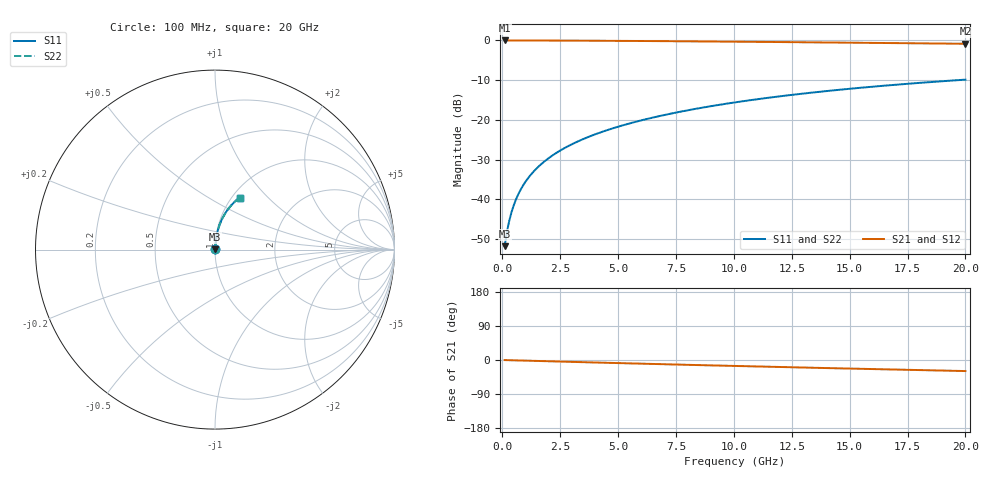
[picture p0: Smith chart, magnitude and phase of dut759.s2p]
! Touchstone file exported from HFSS 2024.1.0
!  File:  C:/UserFiles/LocalFiles/RDL_TSV_Batchsim/temp_RDL_bottom_759_1779860096.aedt
!  Generated:  01:37:42 PM May 27, 2026
!  Design:  RDL_bottom
!  Project:  temp_RDL_bottom_759_1779860096
!  Setup:  Setup1
!  Solution:  Sweep
! Variables:
!  dtsv = 10.80580581um
!  hbump = 3um
!  htsv = 90.23um
!  ldown = 380.72um
!  lrdl = 100um
!  p = 40
!  p1 = 47.54um
!  rhole = 1um
!  t = 450um
!  tdown = 4.75um
!  trdl = 3.915915916um
!  wdown = 15.72um
!  wrdl = 20um
# GHz S MA R 50.000000
! Terminal data exported
! Port[1] = RDL1_T1
! Port[2] = RDL1_T2
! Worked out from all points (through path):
!   200 points, 100 MHz to 20 GHz, reference 50 ohm
!   highest |S21| = -0.02 dB at 100 MHz (marker M1); lowest = -0.9 dB at 20 GHz (marker M2)
!   group delay of S21, straight-line fit = 4.03 ps
!   lowest |S11| = -51.8 dB at 100 MHz (marker M3), VSWR 1.01, Z = 50.2 + j0.173 ohm
!   |S11| at or under -10 dB: start of sweep to 19.67 GHz
!   |S22| runs from -51.8 to -9.9 dB; largest |S21 - S12| = 3.4e-15
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0.1  0.002585 41.9  0.9981 -0.2  0.9981 -0.2  0.002585 41.9
! Gamma 0 0 0 0
! Port Impedance 50 0 50 0
0.2  0.003895 59.5  0.998 -0.3  0.998 -0.3  0.003895 59.5
0.3  0.005381 68.1  0.9979 -0.5  0.9979 -0.5  0.005381 68.1
0.4  0.00694 72.9  0.9978 -0.7  0.9978 -0.7  0.00694 72.9
0.5  0.008534 75.9  0.9977 -0.8  0.9977 -0.8  0.008534 75.9
0.6  0.01015 77.9  0.9976 -1.0  0.9976 -1.0  0.01015 77.9
0.8  0.0134 80.4  0.9974 -1.3  0.9974 -1.3  0.0134 80.4
1.1  0.0183 82.3  0.9971 -1.8  0.9971 -1.8  0.0183 82.3
1.3  0.02157 83.0  0.9969 -2.2  0.9969 -2.2  0.02157 83.0
1.5  0.02485 83.5  0.9966 -2.5  0.9966 -2.5  0.02485 83.5
1.8  0.02976 83.9  0.9961 -3.0  0.9961 -3.0  0.02976 83.9
2.1  0.03466 84.1  0.9955 -3.5  0.9955 -3.5  0.03466 84.1
2.7  0.04446 84.2  0.9942 -4.5  0.9942 -4.5  0.04446 84.2
3.5  0.05753 83.9  0.9919 -5.8  0.9919 -5.8  0.05753 83.9
4.2  0.069 83.5  0.9896 -6.9  0.9896 -6.9  0.069 83.5
5  0.08216 83.0  0.9867 -8.2  0.9867 -8.2  0.08216 83.0
6.8  0.112 81.4  0.9792 -10.9  0.9792 -10.9  0.112 81.4
8.4  0.1387 79.6  0.9717 -13.3  0.9717 -13.3  0.1387 79.6
10.1  0.167 77.6  0.9632 -15.8  0.9632 -15.8  0.167 77.6
13.4  0.221 73.4  0.9454 -20.5  0.9454 -20.5  0.221 73.4
16.7  0.2726 69.0  0.9265 -24.9  0.9265 -24.9  0.2726 69.0
20  0.3209 64.6  0.9066 -29.2  0.9066 -29.2  0.3208 64.6
